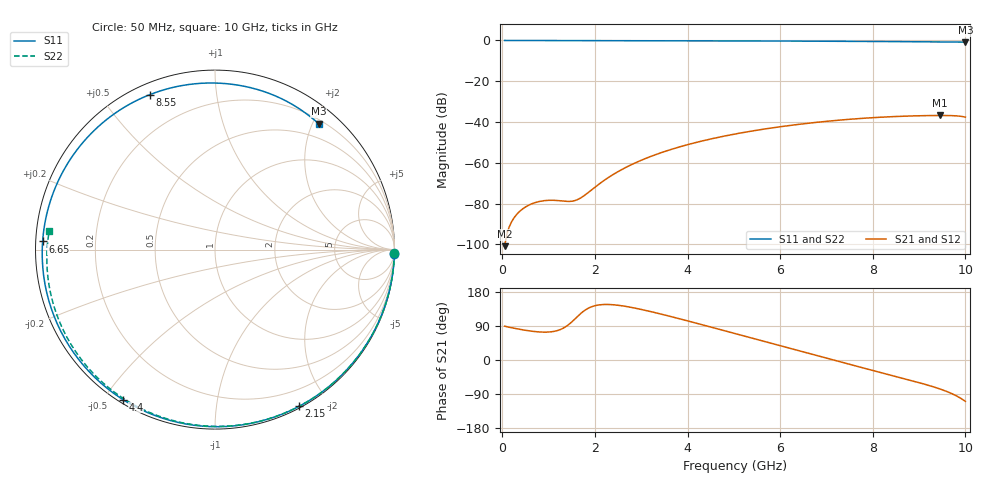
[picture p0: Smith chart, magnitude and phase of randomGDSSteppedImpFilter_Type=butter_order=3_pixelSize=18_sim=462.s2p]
! freq	dB(S11)	phase(S11)	dB(S12)	phase(S12)
!  dB(S21)	phase(S21)	dB(S22)	phase(S22)
!S-par simulation data
#  GHz  S  DB  R 50
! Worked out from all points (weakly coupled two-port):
!   200 points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, 50 MHz to 10 GHz, reference 50 ohm
!   highest |S21| = -36.80 dB at 9.45 GHz (marker M1); lowest = -100.9 dB at 50 MHz (marker M2)
!   lowest |S11| = -0.8 dB at 10 GHz (marker M3), VSWR 20.84, Z = 13.1 + j105 ohm
!   |S11| at or under -10 dB: nowhere
!   |S22| runs from -0.6 to 0.0 dB; largest |S21 - S12| = 0
!   S11 on the Smith chart (normalised r, x): 50 MHz: 0, -77; 2.15 GHz: 0.02, -1.67; 4.4 GHz: 0.01, -0.56; 6.65 GHz: 0.02, +0.02; 8.55 GHz: 0.05, +0.66; 10 GHz: 0.26, +2.09
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0.05  -0.00 -1.5  -100.91 89.3  -100.91 89.3  -0.00 -1.0
0.65  -0.02 -19.1  -80.01 75.8  -80.01 75.8  -0.02 -13.4
0.75  -0.03 -22.0  -79.27 74.5  -79.27 74.5  -0.02 -15.4
1  -0.04 -29.2  -78.41 73.8  -78.41 73.8  -0.02 -20.6
1.5  -0.06 -43.6  -78.87 100.4  -78.87 100.4  -0.04 -30.7
1.75  -0.06 -50.6  -76.40 128.3  -76.40 128.3  -0.05 -35.7
2.15  -0.08 -61.8  -69.44 146.2  -69.44 146.2  -0.06 -43.6
2.7  -0.10 -76.8  -61.91 140.7  -61.91 140.7  -0.07 -54.3
3.4  -0.12 -95.5  -55.29 122.0  -55.29 122.0  -0.09 -67.6
4.4  -0.17 -121.6  -48.86 90.3  -48.86 90.3  -0.12 -85.9
5.05  -0.21 -138.6  -45.79 68.9  -45.79 68.9  -0.15 -97.5
5.9  -0.27 -161.4  -42.65 40.9  -42.65 40.9  -0.20 -112.3
6.65  -0.34 177.3  -40.50 16.3  -40.50 16.3  -0.25 -125.2
6.7  -0.35 175.8  -40.38 14.6  -40.38 14.6  -0.25 -126.1
7.15  -0.39 162.1  -39.35 -0.1  -39.35 -0.1  -0.28 -133.8
7.55  -0.44 149.1  -38.58 -13.1  -38.58 -13.1  -0.32 -140.7
7.95  -0.49 135.3  -37.95 -26.0  -37.95 -26.0  -0.36 -147.7
8.35  -0.54 120.6  -37.45 -38.7  -37.45 -38.7  -0.40 -154.8
8.55  -0.57 112.9  -37.26 -45.1  -37.26 -45.1  -0.42 -158.4
9  -0.63 94.7  -36.94 -59.8  -36.94 -59.8  -0.48 -166.7
9.45  -0.70 75.3  -36.80 -76.4  -36.80 -76.4  -0.54 -175.2
10  -0.83 50.5  -37.61 -109.1  -37.61 -109.1  -0.64 173.6
